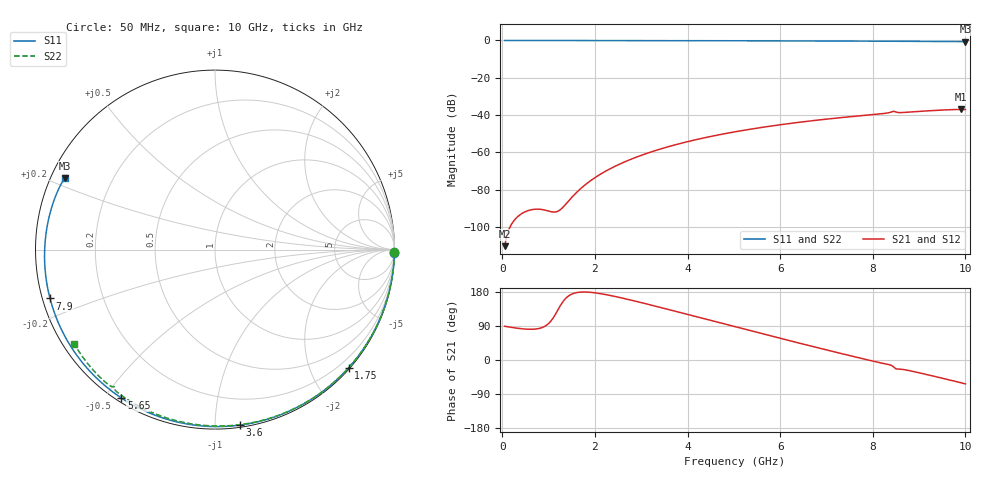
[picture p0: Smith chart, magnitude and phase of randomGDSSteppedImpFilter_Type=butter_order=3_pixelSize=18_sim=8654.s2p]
! freq	dB(S11)	phase(S11)	dB(S12)	phase(S12)
!  dB(S21)	phase(S21)	dB(S22)	phase(S22)
!S-par simulation data
#  GHz  S  DB  R 50
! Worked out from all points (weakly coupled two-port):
!   200 points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, 50 MHz to 10 GHz, reference 50 ohm
!   highest |S21| = -37.00 dB at 9.9 GHz (marker M1); lowest = -110.3 dB at 50 MHz (marker M2)
!   lowest |S11| = -0.7 dB at 10 GHz (marker M3), VSWR 26.50, Z = 1.98 + j11.3 ohm
!   |S11| at or under -10 dB: nowhere
!   |S22| runs from -0.5 to 0.0 dB; largest |S21 - S12| = 0
!   S11 on the Smith chart (normalised r, x): 50 MHz: 0, -94; 1.75 GHz: 0.02, -2.64; 3.6 GHz: 0.01, -1.15; 5.65 GHz: 0.01, -0.55; 7.9 GHz: 0.02, -0.14; 10 GHz: 0.04, +0.23
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0.05  -0.00 -1.2  -110.34 89.0  -110.34 89.0  -0.00 -0.8
0.8  -0.02 -19.2  -90.52 83.4  -90.52 83.4  -0.02 -13.4
1.2  -0.04 -28.7  -91.62 132.0  -91.62 132.0  -0.03 -20.1
1.65  -0.05 -39.2  -80.43 178.7  -80.43 178.7  -0.03 -27.5
1.75  -0.05 -41.5  -78.23 179.5  -78.23 179.5  -0.04 -29.2
2.05  -0.06 -48.4  -72.79 176.5  -72.79 176.5  -0.04 -34.0
2.45  -0.07 -57.3  -67.31 167.3  -67.31 167.3  -0.05 -40.5
2.9  -0.09 -67.2  -62.54 154.5  -62.54 154.5  -0.06 -47.6
3.4  -0.10 -77.8  -58.33 139.2  -58.33 139.2  -0.07 -55.4
3.6  -0.11 -82.0  -56.88 132.9  -56.88 132.9  -0.08 -58.5
4.3  -0.13 -96.2  -52.56 110.7  -52.56 110.7  -0.10 -69.0
5.05  -0.17 -110.9  -48.89 87.0  -48.89 87.0  -0.12 -80.0
5.65  -0.20 -122.2  -46.47 68.1  -46.47 68.1  -0.15 -88.5
6.7  -0.27 -141.6  -43.03 35.7  -43.03 35.7  -0.20 -102.9
7.3  -0.31 -152.5  -41.42 17.6  -41.42 17.6  -0.24 -111.0
7.9  -0.37 -163.5  -40.00 -0.0  -40.00 -0.0  -0.28 -118.9
8.35  -0.41 -171.8  -38.76 -12.2  -38.76 -12.2  -0.34 -125.2
8.45  -0.42 -173.7  -38.00 -18.3  -38.00 -18.3  -0.46 -126.4
8.6  -0.43 -176.6  -38.71 -24.1  -38.71 -24.1  -0.38 -127.6
9.15  -0.50 172.8  -37.81 -38.0  -37.81 -38.0  -0.40 -135.0
9.9  -0.61 157.0  -37.00 -60.0  -37.00 -60.0  -0.49 -144.9
10  -0.66 154.5  -37.06 -63.1  -37.06 -63.1  -0.50 -146.2
